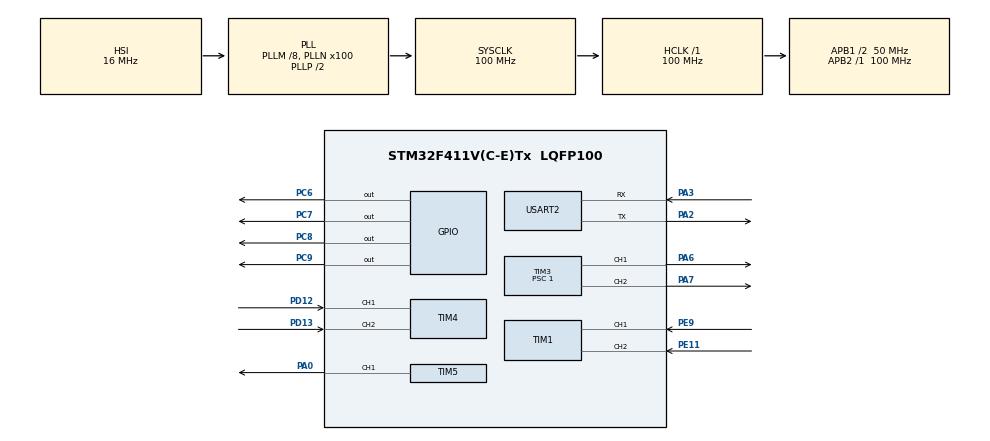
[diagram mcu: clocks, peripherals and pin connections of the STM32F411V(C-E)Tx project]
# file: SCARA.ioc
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Mcu.Family=STM32F4
Mcu.Name=STM32F411V(C-E)Tx
Mcu.Package=LQFP100
NVIC.PriorityGroup=NVIC_PRIORITYGROUP_4
NVIC.USART2_IRQn=true\:0\:0\:true\:false\:true\:true\:true
PA0-WKUP.Signal=S_TIM5_CH1
PA2.Mode=Asynchronous
PA2.Signal=USART2_TX
PA3.Mode=Asynchronous
PA3.Signal=USART2_RX
PA6.Signal=S_TIM3_CH1
PA7.Signal=S_TIM3_CH2
PC6.GPIO_Speed=GPIO_SPEED_FREQ_HIGH
PC6.Signal=GPIO_Output
PC7.GPIO_Speed=GPIO_SPEED_FREQ_HIGH
PC7.Signal=GPIO_Output
PC8.GPIO_Speed=GPIO_SPEED_FREQ_HIGH
PC8.Signal=GPIO_Output
PC9.GPIO_Speed=GPIO_SPEED_FREQ_HIGH
PC9.Signal=GPIO_Output
PD12.Signal=S_TIM4_CH1
PD13.Signal=S_TIM4_CH2
PE11.Signal=S_TIM1_CH2
PE9.Signal=S_TIM1_CH1
ProjectManager.HeapSize=0x200
ProjectManager.StackSize=0x400
ProjectManager.TargetToolchain=STM32CubeIDE
RCC.48MHZClocksFreq_Value=50000000
RCC.AHBFreq_Value=100000000
RCC.APB1CLKDivider=RCC_HCLK_DIV2
RCC.APB1Freq_Value=50000000
RCC.APB1TimFreq_Value=100000000
RCC.APB2Freq_Value=100000000
RCC.APB2TimFreq_Value=100000000
RCC.CortexFreq_Value=100000000
RCC.HCLKFreq_Value=100000000
RCC.HSE_VALUE=25000000
RCC.HSI_VALUE=16000000
RCC.LSE_VALUE=32768
RCC.PLLM=8
RCC.PLLN=100
RCC.SYSCLKFreq_VALUE=100000000
RCC.SYSCLKSource=RCC_SYSCLKSOURCE_PLLCLK
RCC.VCOOutputFreq_Value=200000000
SH.S_TIM1_CH1.0=TIM1_CH1,Encoder_Interface
SH.S_TIM1_CH2.0=TIM1_CH2,Encoder_Interface
SH.S_TIM3_CH1.0=TIM3_CH1,PWM Generation1 CH1
SH.S_TIM3_CH2.0=TIM3_CH2,PWM Generation2 CH2
SH.S_TIM4_CH1.0=TIM4_CH1,Encoder_Interface
SH.S_TIM4_CH2.0=TIM4_CH2,Encoder_Interface
SH.S_TIM5_CH1.0=TIM5_CH1,PWM Generation1 CH1
TIM1.EncoderMode=TIM_ENCODERMODE_TI12
TIM3.Channel-PWM\ Generation1\ CH1=TIM_CHANNEL_1
TIM3.Channel-PWM\ Generation2\ CH2=TIM_CHANNEL_2
TIM3.OCFastMode_PWM-PWM\ Generation1\ CH1=TIM_OCFAST_ENABLE
TIM3.OCFastMode_PWM-PWM\ Generation2\ CH2=TIM_OCFAST_ENABLE
TIM3.Period=254
TIM3.Prescaler=1
TIM3.Pulse-PWM\ Generation1\ CH1=0
TIM4.EncoderMode=TIM_ENCODERMODE_TI12
TIM4.IC1Filter=15
TIM4.IC2Filter=15
TIM5.AutoReloadPreload=TIM_AUTORELOAD_PRELOAD_ENABLE
TIM5.Channel-PWM\ Generation1\ CH1=TIM_CHANNEL_1
TIM5.Period=59999
TIM5.Prescaler=33
USART2.VirtualMode=VM_ASYNC
board=custom

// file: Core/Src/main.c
/* USER CODE BEGIN Header */
/**
  ******************************************************************************
  * @file           : main.c
  * @brief          : Main program body
  ******************************************************************************
  * @attention
  *
  * <h2><center>&copy; Copyright (c) 2021 STMicroelectronics.
  * All rights reserved.</center></h2>
  *
  * This software component is licensed by ST under BSD 3-Clause license,
  * the "License"; You may not use this file except in compliance with the
  * License. You may obtain a copy of the License at:
  *                        opensource.org/licenses/BSD-3-Clause
  *
  ******************************************************************************
  */
/* USER CODE END Header */
#include "main.h"

/* USER CODE BEGIN Includes */
#include "dc_driver.h"
#include "pid.h"
#include <stdio.h>
#include <stdlib.h>
/* USER CODE END Includes */

/* USER CODE BEGIN PD */
#define ENC_ZERO 32768
/* USER CODE END PD */

TIM_HandleTypeDef htim1;
TIM_HandleTypeDef htim3;
TIM_HandleTypeDef htim4;
TIM_HandleTypeDef htim5;

UART_HandleTypeDef huart2;

/* USER CODE BEGIN PV */
long int ENCODER_POS, ENCODER_POS1;
volatile int flagTIM2 = 0;
int flagaMOVE = 0;
float u, u1;
float check;

//zmienne do obsługi komunikacji
volatile char rxBuf[50]; // Holding buffer with space for terminating NUL
volatile int cnt = 0;
volatile int flaga = 0;
volatile uint8_t str;
long int rPosition,rPosition1, rPosition2;
char buffer[24];

//zmienne do obsługi parsowania
int Data[3];
char id = 'a';
volatile int flagaParse = 0;
/* USER CODE END PV */

void SystemClock_Config(void);
static void MX_GPIO_Init(void);
static void MX_TIM3_Init(void);
static void MX_TIM4_Init(void);
static void MX_USART2_UART_Init(void);
static void MX_TIM1_Init(void);
static void MX_TIM5_Init(void);

/* USER CODE BEGIN PFP */
void encoder_position(){
	int diff=0;
	int pos1;

	pos1 = htim4.Instance->CNT;

	htim4.Instance->CNT = ENC_ZERO;

	diff = pos1 - ENC_ZERO;
	ENCODER_POS += diff;
}

void parse_ReceivedData() {

	//NOWE
			int x = 0;
			int init_size = strlen(rxBuf);
			char delim[] = " ";

			char *ptr = strtok(rxBuf, delim);
			id = *ptr;

				while (ptr != NULL) {
					//printf("'%s'\n", ptr);
					ptr = strtok(NULL, delim);
					Data[x++] = atoi(ptr);
					//sscanf(ptr, "%d", &data[x++]);
				}

				for (int i = 0; i < 50; i++)
					rxBuf[i] = NULL;
}

void sendEncoderData(long int enc,long int enc1, int enc2)
{

	if(enc!=rPosition || enc1!=rPosition1 || enc2 != rPosition2)
	{
		sprintf(buffer, "E %i %i %i 55\r\n",enc,enc1,enc2);
		HAL_UART_Transmit(&huart2, buffer, strlen(buffer), 100);
		rPosition = enc;
		rPosition1 = enc1;
		rPosition2 = enc2;
	}

}

//obsluga timera, do zwrotu uplywu czasu
static inline uint32_t LL_SYSTICK_IsActiveCounterFlag(void)
{
  return ((SysTick->CTRL & SysTick_CTRL_COUNTFLAG_Msk) == (SysTick_CTRL_COUNTFLAG_Msk));
}

uint32_t getCurrentMicros(void)
{
  /* Ensure COUNTFLAG is reset by reading SysTick control and status register */
  LL_SYSTICK_IsActiveCounterFlag();
  uint32_t m = HAL_GetTick();
  const uint32_t tms = SysTick->LOAD + 1;
  __IO uint32_t u = tms - SysTick->VAL;
  if (LL_SYSTICK_IsActiveCounterFlag()) {
    m = HAL_GetTick();
    u = tms - SysTick->VAL;
  }
  return (m * 1000 + (u * 1000) / tms);
}
/* USER CODE END PFP */

int main(void)
{

  /* MCU Configuration--------------------------------------------------------*/

  /* Reset of all peripherals, Initializes the Flash interface and the Systick. */
  HAL_Init();

  /* Configure the system clock */
  SystemClock_Config();

  /* Initialize all configured peripherals */
  MX_GPIO_Init();
  MX_TIM3_Init();
  MX_TIM4_Init();
  MX_USART2_UART_Init();
  MX_TIM1_Init();
  MX_TIM5_Init();
  /* USER CODE BEGIN 2 */
  HAL_UART_Receive_IT(&huart2, &str, 1);
  __HAL_TIM_SET_COMPARE(&htim3,TIM_CHANNEL_1,0);
  __HAL_TIM_SET_COMPARE(&htim3,TIM_CHANNEL_2,0);
  moveStopJoint1();
  moveStopJoint2();
  HAL_TIM_PWM_Start(&htim3, TIM_CHANNEL_1);
  HAL_TIM_PWM_Start(&htim3, TIM_CHANNEL_2);
  HAL_TIM_PWM_Start(&htim5, TIM_CHANNEL_1);
  HAL_TIM_Encoder_Start_IT(&htim4, TIM_CHANNEL_ALL);
  HAL_TIM_Encoder_Start_IT(&htim1, TIM_CHANNEL_ALL);
  //HAL_TIM_Base_Start_IT(&htim2);
  htim4.Instance->CNT = 0;//ENC_ZERO;
  __HAL_TIM_SET_COMPARE(&htim5, TIM_CHANNEL_1,7600);
  pid_init1(40.0,0.05,10.0);//(60.0,0.009,40.0);//(1.1,0.015,0.0005)25.0 (60.0,0.009,40.0)
  pid_init2(5,0,0);
  ENCODER_POS = 0;//ENC_ZERO;

  //HAL_Delay(2000);
  /* USER CODE END 2 */

  /* Infinite loop */
  while (1)
  {

    /* USER CODE BEGIN 3 */
	  //HAL_TIM_PWM_Start(&htim3, TIM_CHANNEL_1);
	  check = getCurrentMicros();
	  if(flagaMOVE == 0)
	  {
		  //moveStopJoint1();
		  //moveStopJoint2();
		  //flagaMOVE = 0;
		  ENCODER_POS = TIM4->CNT;
		  ENCODER_POS1 = TIM1->CNT;
		  u = 0;
		  u1 = 0;
	  }

	  if(flagaParse == 1)
	  {

		  parse_ReceivedData();
		  if(id == 'I')
			  {
			  flagaMOVE = 1;
			  __HAL_TIM_SET_COMPARE(&htim5, TIM_CHANNEL_1,Data[2]);
			  }

		  else if(id == 'M')
		  {
			  if(Data[0] == 1)
			  {
				  if(Data[1] == 1) setMotorSpeed1(&htim3, 100);

				  if(Data[1] == 2) setMotorSpeed1(&htim3, -100);
			  }

			  else if(Data[0] == 2)
			  {
				  if(Data[1] == 1) setMotorSpeed2(&htim3, 100);

				  if(Data[1] == 2) setMotorSpeed2(&htim3, -100);
			  }

		  }

		  else if(id == 'S') {moveStopJoint1(); moveStopJoint2();}
		  else if(id == 'E') {htim4.Instance->CNT = ENC_ZERO; htim1.Instance->CNT = ENC_ZERO;
		  	  	  	  	  	  ENCODER_POS = TIM4->CNT; ENCODER_POS1 = TIM1->CNT; Data[2] = 7600;}
		  flagaParse = 0;
	  }

	 if(flagaMOVE == 1)
	  {
		  /*u = pid_calculate1(ENCODER_POS+Data[0],(TIM4->CNT));
		  setMotorSpeed1(&htim3,(int)u);
		  u1 = pid_calculate1(ENCODER_POS1+Data[1], (TIM1->CNT));
		  setMotorSpeed2(&htim3, (int)u1);*/

		 u = pid_calculate1(ENCODER_POS+Data[0], (TIM4->CNT), getCurrentMicros());
		 u1 = pid_calculate2(ENCODER_POS1+Data[1], (TIM1->CNT), getCurrentMicros());
		 if(u < 36.0 && u1 < 36.0 && abs((ENCODER_POS+Data[0]-(TIM4->CNT)))<5 && abs((ENCODER_POS1+Data[1]-(TIM1->CNT)))<5)
		 {
			 u = 0.0;
			 u1 = 0.0;
			 flagaMOVE = 0;
		 }
		 setMotorSpeed1(&htim3,(int)u);
		 setMotorSpeed2(&htim3, (int)u1);

		  //int difference = ENCODER_POS+Data[0] - TIM4->CNT;
		  //int difference1 = ENCODER_POS1+Data[1] - TIM1->CNT;

		 /* if(abs(u)<60 && abs(u1) < 60)//if(abs(u)<60 && abs(u1) < 60)//if(abs(u)<1)if(difference<10 && difference>-10 && difference1<10 && difference1>-10)
		  	 {
		  	  	moveStopJoint1();
		  	  	moveStopJoint2();
		  	  	flagaMOVE = 0;
		  	  	ENCODER_POS = TIM4->CNT;
		  	  	ENCODER_POS1 = TIM1->CNT;
		  	  	u = 0;
		  	  	u1 = 0;
		  	  }*/
	  }

	 sendEncoderData(TIM4->CNT, TIM1->CNT,Data[2]);

	  			/*  u = pid_calculate(ENCODER_POS+1496,(TIM4->CNT));
	  			  setMotorSpeed1(&htim3,u);
	  	 if(abs(u)<60)
	  			{
	  				  moveStopJoint1();
	  				  flagaMOVE = 0;
	  				  //ENCODER_POS = TIM4->CNT;
	  			}*/

	 /*if(flagTIM2)
		  {
			  u = pid_calculate(ENCODER_POS+1496,(TIM4->CNT));
			  setMotorSpeed1(&htim3,u);
			  flagTIM2 = 0;

		  }
	 if(abs(u)<60)
			{
				  moveStopJoint1();
				  flagaMOVE = 0;
				  //ENCODER_POS = TIM4->CNT;
			}*/

  }
  /* USER CODE END 3 */
}

void SystemClock_Config(void)
{
  RCC_OscInitTypeDef RCC_OscInitStruct = {0};
  RCC_ClkInitTypeDef RCC_ClkInitStruct = {0};

  /** Configure the main internal regulator output voltage
  */
  __HAL_RCC_PWR_CLK_ENABLE();
  __HAL_PWR_VOLTAGESCALING_CONFIG(PWR_REGULATOR_VOLTAGE_SCALE1);
  /** Initializes the RCC Oscillators according to the specified parameters
  * in the RCC_OscInitTypeDef structure.
  */
  RCC_OscInitStruct.OscillatorType = RCC_OSCILLATORTYPE_HSI;
  RCC_OscInitStruct.HSIState = RCC_HSI_ON;
  RCC_OscInitStruct.HSICalibrationValue = RCC_HSICALIBRATION_DEFAULT;
  RCC_OscInitStruct.PLL.PLLState = RCC_PLL_ON;
  RCC_OscInitStruct.PLL.PLLSource = RCC_PLLSOURCE_HSI;
  RCC_OscInitStruct.PLL.PLLM = 8;
  RCC_OscInitStruct.PLL.PLLN = 100;
  RCC_OscInitStruct.PLL.PLLP = RCC_PLLP_DIV2;
  RCC_OscInitStruct.PLL.PLLQ = 4;
  if (HAL_RCC_OscConfig(&RCC_OscInitStruct) != HAL_OK)
  {
    Error_Handler();
  }
  /** Initializes the CPU, AHB and APB buses clocks
  */
  RCC_ClkInitStruct.ClockType = RCC_CLOCKTYPE_HCLK|RCC_CLOCKTYPE_SYSCLK
                              |RCC_CLOCKTYPE_PCLK1|RCC_CLOCKTYPE_PCLK2;
  RCC_ClkInitStruct.SYSCLKSource = RCC_SYSCLKSOURCE_PLLCLK;
  RCC_ClkInitStruct.AHBCLKDivider = RCC_SYSCLK_DIV1;
  RCC_ClkInitStruct.APB1CLKDivider = RCC_HCLK_DIV2;
  RCC_ClkInitStruct.APB2CLKDivider = RCC_HCLK_DIV1;

  if (HAL_RCC_ClockConfig(&RCC_ClkInitStruct, FLASH_LATENCY_3) != HAL_OK)
  {
    Error_Handler();
  }
}

static void MX_TIM1_Init(void)
{

  TIM_Encoder_InitTypeDef sConfig = {0};
  TIM_MasterConfigTypeDef sMasterConfig = {0};

  htim1.Instance = TIM1;
  htim1.Init.Prescaler = 0;
  htim1.Init.CounterMode = TIM_COUNTERMODE_UP;
  htim1.Init.Period = 65535;
  htim1.Init.ClockDivision = TIM_CLOCKDIVISION_DIV1;
  htim1.Init.RepetitionCounter = 0;
  htim1.Init.AutoReloadPreload = TIM_AUTORELOAD_PRELOAD_DISABLE;
  sConfig.EncoderMode = TIM_ENCODERMODE_TI12;
  sConfig.IC1Polarity = TIM_ICPOLARITY_RISING;
  sConfig.IC1Selection = TIM_ICSELECTION_DIRECTTI;
  sConfig.IC1Prescaler = TIM_ICPSC_DIV1;
  sConfig.IC1Filter = 0;
  sConfig.IC2Polarity = TIM_ICPOLARITY_RISING;
  sConfig.IC2Selection = TIM_ICSELECTION_DIRECTTI;
  sConfig.IC2Prescaler = TIM_ICPSC_DIV1;
  sConfig.IC2Filter = 0;
  if (HAL_TIM_Encoder_Init(&htim1, &sConfig) != HAL_OK)
  {
    Error_Handler();
  }
  sMasterConfig.MasterOutputTrigger = TIM_TRGO_RESET;
  sMasterConfig.MasterSlaveMode = TIM_MASTERSLAVEMODE_DISABLE;
  if (HAL_TIMEx_MasterConfigSynchronization(&htim1, &sMasterConfig) != HAL_OK)
  {
    Error_Handler();
  }

}

static void MX_TIM3_Init(void)
{

  TIM_MasterConfigTypeDef sMasterConfig = {0};
  TIM_OC_InitTypeDef sConfigOC = {0};

  htim3.Instance = TIM3;
  htim3.Init.Prescaler = 1;
  htim3.Init.CounterMode = TIM_COUNTERMODE_UP;
  htim3.Init.Period = 254;
  htim3.Init.ClockDivision = TIM_CLOCKDIVISION_DIV1;
  htim3.Init.AutoReloadPreload = TIM_AUTORELOAD_PRELOAD_DISABLE;
  if (HAL_TIM_PWM_Init(&htim3) != HAL_OK)
  {
    Error_Handler();
  }
  sMasterConfig.MasterOutputTrigger = TIM_TRGO_RESET;
  sMasterConfig.MasterSlaveMode = TIM_MASTERSLAVEMODE_DISABLE;
  if (HAL_TIMEx_MasterConfigSynchronization(&htim3, &sMasterConfig) != HAL_OK)
  {
    Error_Handler();
  }
  sConfigOC.OCMode = TIM_OCMODE_PWM1;
  sConfigOC.Pulse = 0;
  sConfigOC.OCPolarity = TIM_OCPOLARITY_HIGH;
  sConfigOC.OCFastMode = TIM_OCFAST_ENABLE;
  if (HAL_TIM_PWM_ConfigChannel(&htim3, &sConfigOC, TIM_CHANNEL_1) != HAL_OK)
  {
    Error_Handler();
  }
  if (HAL_TIM_PWM_ConfigChannel(&htim3, &sConfigOC, TIM_CHANNEL_2) != HAL_OK)
  {
    Error_Handler();
  }
  HAL_TIM_MspPostInit(&htim3);

}

static void MX_TIM4_Init(void)
{

  TIM_Encoder_InitTypeDef sConfig = {0};
  TIM_MasterConfigTypeDef sMasterConfig = {0};

  htim4.Instance = TIM4;
  htim4.Init.Prescaler = 0;
  htim4.Init.CounterMode = TIM_COUNTERMODE_UP;
  htim4.Init.Period = 65535;
  htim4.Init.ClockDivision = TIM_CLOCKDIVISION_DIV1;
  htim4.Init.AutoReloadPreload = TIM_AUTORELOAD_PRELOAD_DISABLE;
  sConfig.EncoderMode = TIM_ENCODERMODE_TI12;
  sConfig.IC1Polarity = TIM_ICPOLARITY_RISING;
  sConfig.IC1Selection = TIM_ICSELECTION_DIRECTTI;
  sConfig.IC1Prescaler = TIM_ICPSC_DIV1;
  sConfig.IC1Filter = 15;
  sConfig.IC2Polarity = TIM_ICPOLARITY_RISING;
  sConfig.IC2Selection = TIM_ICSELECTION_DIRECTTI;
  sConfig.IC2Prescaler = TIM_ICPSC_DIV1;
  sConfig.IC2Filter = 15;
  if (HAL_TIM_Encoder_Init(&htim4, &sConfig) != HAL_OK)
  {
    Error_Handler();
  }
  sMasterConfig.MasterOutputTrigger = TIM_TRGO_RESET;
  sMasterConfig.MasterSlaveMode = TIM_MASTERSLAVEMODE_DISABLE;
  if (HAL_TIMEx_MasterConfigSynchronization(&htim4, &sMasterConfig) != HAL_OK)
  {
    Error_Handler();
  }

}

static void MX_TIM5_Init(void)
{

  TIM_MasterConfigTypeDef sMasterConfig = {0};
  TIM_OC_InitTypeDef sConfigOC = {0};

  htim5.Instance = TIM5;
  htim5.Init.Prescaler = 33;
  htim5.Init.CounterMode = TIM_COUNTERMODE_UP;
  htim5.Init.Period = 59999;
  htim5.Init.ClockDivision = TIM_CLOCKDIVISION_DIV1;
  htim5.Init.AutoReloadPreload = TIM_AUTORELOAD_PRELOAD_ENABLE;
  if (HAL_TIM_PWM_Init(&htim5) != HAL_OK)
  {
    Error_Handler();
  }
  sMasterConfig.MasterOutputTrigger = TIM_TRGO_RESET;
  sMasterConfig.MasterSlaveMode = TIM_MASTERSLAVEMODE_DISABLE;
  if (HAL_TIMEx_MasterConfigSynchronization(&htim5, &sMasterConfig) != HAL_OK)
  {
    Error_Handler();
  }
  sConfigOC.OCMode = TIM_OCMODE_PWM1;
  sConfigOC.Pulse = 0;
  sConfigOC.OCPolarity = TIM_OCPOLARITY_HIGH;
  sConfigOC.OCFastMode = TIM_OCFAST_DISABLE;
  if (HAL_TIM_PWM_ConfigChannel(&htim5, &sConfigOC, TIM_CHANNEL_1) != HAL_OK)
  {
    Error_Handler();
  }
  HAL_TIM_MspPostInit(&htim5);

}

static void MX_USART2_UART_Init(void)
{

  huart2.Instance = USART2;
  huart2.Init.BaudRate = 115200;
  huart2.Init.WordLength = UART_WORDLENGTH_8B;
  huart2.Init.StopBits = UART_STOPBITS_1;
  huart2.Init.Parity = UART_PARITY_NONE;
  huart2.Init.Mode = UART_MODE_TX_RX;
  huart2.Init.HwFlowCtl = UART_HWCONTROL_NONE;
  huart2.Init.OverSampling = UART_OVERSAMPLING_16;
  if (HAL_UART_Init(&huart2) != HAL_OK)
  {
    Error_Handler();
  }

}

static void MX_GPIO_Init(void)
{
  GPIO_InitTypeDef GPIO_InitStruct = {0};

  /* GPIO Ports Clock Enable */
  __HAL_RCC_GPIOA_CLK_ENABLE();
  __HAL_RCC_GPIOE_CLK_ENABLE();
  __HAL_RCC_GPIOD_CLK_ENABLE();
  __HAL_RCC_GPIOC_CLK_ENABLE();

  /*Configure GPIO pin Output Level */
  HAL_GPIO_WritePin(GPIOC, GPIO_PIN_6|GPIO_PIN_7|GPIO_PIN_8|GPIO_PIN_9, GPIO_PIN_RESET);

  /*Configure GPIO pins : PC6 PC7 PC8 PC9 */
  GPIO_InitStruct.Pin = GPIO_PIN_6|GPIO_PIN_7|GPIO_PIN_8|GPIO_PIN_9;
  GPIO_InitStruct.Mode = GPIO_MODE_OUTPUT_PP;
  GPIO_InitStruct.Pull = GPIO_NOPULL;
  GPIO_InitStruct.Speed = GPIO_SPEED_FREQ_HIGH;
  HAL_GPIO_Init(GPIOC, &GPIO_InitStruct);

}

/* USER CODE BEGIN 4 */
/*void HAL_TIM_PeriodElapsedCallback(TIM_HandleTypeDef *htim){

	if(htim->Instance == TIM2)
	{
		flagTIM2 = 1;
	}

}*/

void HAL_UART_RxCpltCallback(UART_HandleTypeDef *huart)
{
	if(flaga ==1)
		{
		if((str != 'R'))
		{
			rxBuf[cnt] = str;
			cnt++;
		}
		else{
			rxBuf[cnt++] = '\r';
			rxBuf[cnt] = '\n';
			cnt = 0;
			//if(rxBuf[0] == 'I' || rxBuf[0] == 'F')
			flaga =0 ;
			//HAL_UART_Transmit(&huart2, rxBuf, strlen(rxBuf), 100);
			flagaParse = 1;
			flagaMOVE = 0;
		}
		}

	if(str == 'I' || str == 'F' || str == 'S' || str == 'M' || str == 'E')
	{
		flaga =1;
		rxBuf[cnt] = str;
		cnt++;
	}

	HAL_UART_Receive_IT(&huart2, &str, 1);
}
/* USER CODE END 4 */

void Error_Handler(void)
{
  __disable_irq();
  while (1)
  {
  }
}

/************************ (C) COPYRIGHT STMicroelectronics *****END OF FILE****/
